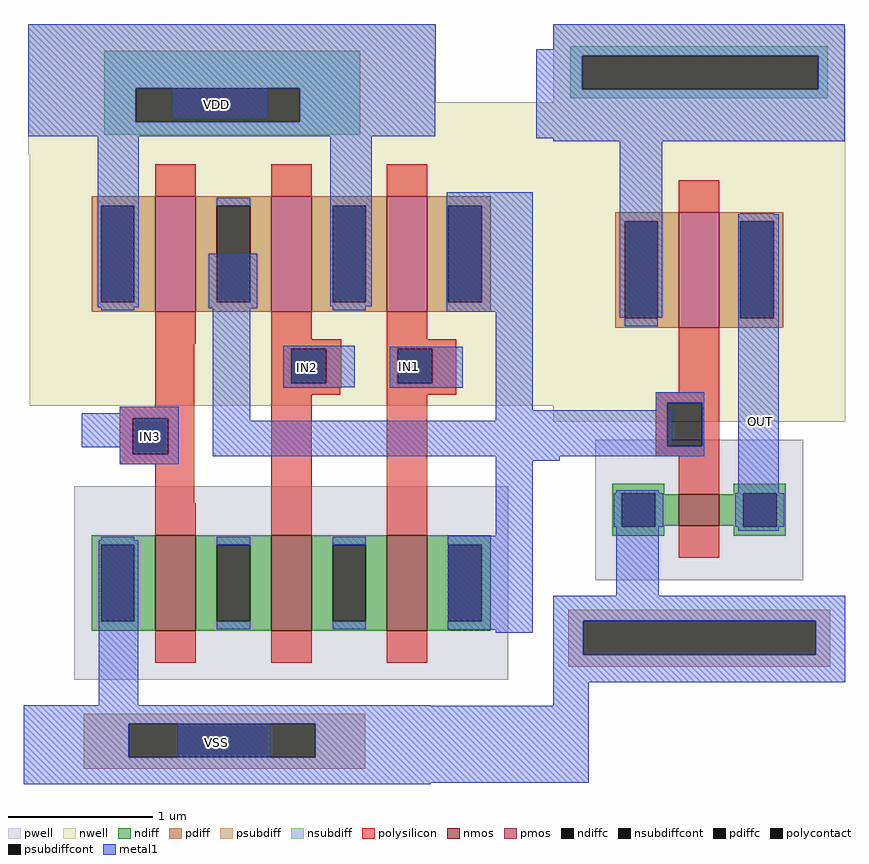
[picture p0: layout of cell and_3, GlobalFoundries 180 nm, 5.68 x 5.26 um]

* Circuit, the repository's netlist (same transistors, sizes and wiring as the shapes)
* NGSPICE file created from and_3.ext - technology: gf180mcuC

.subckt pmos_3p3_MQGBLR a_n28_n124# a_n116_n80# a_28_n80# w_n202_n210#
X0 a_28_n80# a_n28_n124# a_n116_n80# w_n202_n210# pfet_03v3 ad=0.352p pd=2.48u as=0.352p ps=2.48u w=0.8u l=0.28u
.ends

.subckt nmos_3p3_DDNVWA a_n120_n36# a_28_n22# a_n28_n66# VSUBS
X0 a_28_n22# a_n28_n66# a_n120_n36# VSUBS nfet_03v3 ad=0.152p pd=1.64u as=0.152p ps=1.64u w=0.22u l=0.28u
.ends

.subckt nverterlayout VDD VSS OUT IN
Xpmos_3p3_MQGBLR_0 IN VDD OUT VDD pmos_3p3_MQGBLR
Xnmos_3p3_DDNVWA_0 VSS OUT IN VSS nmos_3p3_DDNVWA
.ends

.subckt nmos_3p3_VGTVWA a_n116_n66# a_28_n66# a_n28_n110# VSUBS
X0 a_28_n66# a_n28_n110# a_n116_n66# VSUBS nfet_03v3 ad=0.29p pd=2.2u as=0.29p ps=2.2u w=0.66u l=0.28u
.ends

.subckt pmos_3p3_M8SWPS a_n28_n124# a_n116_n80# a_28_n80# w_n202_n210#
X0 a_28_n80# a_n28_n124# a_n116_n80# w_n202_n210# pfet_03v3 ad=0.352p pd=2.48u as=0.352p ps=2.48u w=0.8u l=0.28u
.ends

.subckt nand3_mag IN3 IN2 IN1 VDD VSS OUT
Xnmos_3p3_VGTVWA_0 nmos_3p3_VGTVWA_1/a_28_n66# nmos_3p3_VGTVWA_0/a_28_n66# IN2 VSS
+ nmos_3p3_VGTVWA
Xnmos_3p3_VGTVWA_1 VSS nmos_3p3_VGTVWA_1/a_28_n66# IN3 VSS nmos_3p3_VGTVWA
Xnmos_3p3_VGTVWA_2 nmos_3p3_VGTVWA_0/a_28_n66# OUT IN1 VSS nmos_3p3_VGTVWA
Xpmos_3p3_M8SWPS_0 IN1 VDD OUT VDD pmos_3p3_M8SWPS
Xpmos_3p3_M8SWPS_1 IN3 VDD OUT VDD pmos_3p3_M8SWPS
Xpmos_3p3_M8SWPS_2 IN2 OUT VDD VDD pmos_3p3_M8SWPS
.ends

.subckt and_3 IN1 IN2 IN3 VSS VDD OUT
Xnverterlayout_0 VDD VSS OUT nand3_mag_0/OUT nverterlayout
Xnand3_mag_0 IN3 IN2 IN1 VDD VSS nand3_mag_0/OUT nand3_mag
.ends

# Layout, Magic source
magic
tech gf180mcuC
magscale 1 10
<< metal1 >>
rect 206 921 337 965
rect 709 893 751 1016
rect 365 552 421 601
rect 514 552 570 601
rect 150 457 203 506
rect 675 453 897 517
rect 991 469 1040 536
rect 732 108 781 163
rect 212 34 341 85
rect 559 2 781 108
use nand3_mag  nand3_mag_0
transform 1 0 70 0 1 188
box -70 -188 671 863
use nverterlayout  nverterlayout_0
transform 1 0 820 0 1 -79
box -88 220 316 1130
<< labels >>
flabel metal1 393 576 393 576 0 FreeSans 480 0 0 0 IN2
port 1 nsew
flabel metal1 175 481 175 481 0 FreeSans 480 0 0 0 IN3
port 2 nsew
flabel metal1 266 57 266 57 0 FreeSans 480 0 0 0 VSS
port 3 nsew
flabel metal1 266 940 266 940 0 FreeSans 480 0 0 0 VDD
port 4 nsew
flabel metal1 1019 501 1019 501 0 FreeSans 480 0 0 0 OUT
port 5 nsew
flabel metal1 533 577 533 577 0 FreeSans 480 0 0 0 IN1
port 6 nsew
<< end >>

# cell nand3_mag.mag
magic
tech gf180mcuC
magscale 1 10
<< nwell >>
rect -64 682 500 863
rect 295 365 304 418
rect 345 366 354 417
rect 386 361 388 418
rect 485 417 528 421
rect 436 414 484 417
rect 485 414 529 417
rect 436 365 447 414
rect 485 364 528 414
<< psubdiff >>
rect 13 -105 402 -91
rect 13 -151 75 -105
rect 333 -151 402 -105
rect 13 -167 402 -151
<< nsubdiff >>
rect 41 774 395 826
rect 41 728 85 774
rect 312 728 395 774
rect 41 710 395 728
<< psubdiffcont >>
rect 75 -151 333 -105
<< nsubdiffcont >>
rect 85 728 312 774
<< polysilicon >>
rect 289 421 369 427
rect 112 334 166 421
rect 63 318 166 334
rect 63 268 81 318
rect 130 268 166 318
rect 63 254 166 268
rect 112 200 166 254
rect 272 414 369 421
rect 272 366 300 414
rect 348 366 369 414
rect 272 360 369 366
rect 432 414 528 427
rect 432 366 447 414
rect 495 366 528 414
rect 272 350 368 360
rect 432 350 528 366
rect 272 200 328 350
rect 432 200 488 350
<< polycontact >>
rect 81 268 130 318
rect 300 366 348 414
rect 447 366 495 414
<< metal1 >>
rect -64 817 500 863
rect -64 774 499 817
rect -64 728 85 774
rect 312 728 499 774
rect -64 708 499 728
rect 32 471 89 708
rect 186 470 253 545
rect 354 473 411 708
rect 63 325 144 334
rect 10 318 144 325
rect 10 278 81 318
rect 63 268 81 278
rect 130 268 144 318
rect 63 254 144 268
rect 191 314 243 470
rect 515 465 634 630
rect 289 414 388 418
rect 289 366 300 414
rect 348 366 388 414
rect 289 361 388 366
rect 436 414 537 417
rect 436 366 447 414
rect 495 366 537 414
rect 289 360 369 361
rect 436 360 537 366
rect 583 314 634 465
rect 191 265 671 314
rect 583 259 671 265
rect 583 155 634 259
rect 34 -79 88 149
rect 516 25 634 155
rect 583 21 634 25
rect -70 -105 493 -79
rect -70 -151 75 -105
rect 333 -151 493 -105
rect -70 -188 493 -151
use nmos_3p3_VGTVWA  nmos_3p3_VGTVWA_0
transform 1 0 300 0 1 90
box -140 -134 140 134
use nmos_3p3_VGTVWA  nmos_3p3_VGTVWA_1
transform 1 0 140 0 1 90
box -140 -134 140 134
use nmos_3p3_VGTVWA  nmos_3p3_VGTVWA_2
transform 1 0 460 0 1 90
box -140 -134 140 134
use pmos_3p3_M8SWPS  pmos_3p3_M8SWPS_0
transform 1 0 460 0 1 545
box -202 -210 202 210
use pmos_3p3_M8SWPS  pmos_3p3_M8SWPS_1
transform 1 0 140 0 1 545
box -202 -210 202 210
use pmos_3p3_M8SWPS  pmos_3p3_M8SWPS_2
transform 1 0 300 0 1 545
box -202 -210 202 210
<< labels >>
flabel metal1 30 300 30 300 0 FreeSans 320 0 0 0 IN3
port 0 nsew
flabel metal1 380 380 380 380 0 FreeSans 320 0 0 0 IN2
port 1 nsew
flabel metal1 530 390 530 390 0 FreeSans 320 0 0 0 IN1
port 2 nsew
flabel nsubdiffcont 200 750 200 750 0 FreeSans 320 0 0 0 VDD
port 3 nsew
flabel psubdiffcont 200 -130 200 -130 0 FreeSans 320 0 0 0 VSS
port 4 nsew
flabel metal1 620 290 620 290 0 FreeSans 320 0 0 0 OUT
port 5 nsew
<< end >>

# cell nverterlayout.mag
magic
tech gf180mcuC
magscale 1 10
<< nwell >>
rect -88 1124 315 1130
rect -88 1000 316 1124
rect -88 968 315 1000
rect 4 724 63 960
rect 64 612 121 621
<< pwell >>
rect 64 534 121 540
rect 54 532 121 534
<< psubdiff >>
rect -67 305 295 320
rect -67 258 -46 305
rect 275 258 295 305
rect -67 241 295 258
<< nsubdiff >>
rect -64 1086 292 1099
rect -64 1040 -48 1086
rect 279 1040 292 1086
rect -64 1027 292 1040
<< psubdiffcont >>
rect -46 258 275 305
<< nsubdiffcont >>
rect -48 1040 279 1086
<< polysilicon >>
rect 86 621 142 672
rect 54 606 142 621
rect 54 546 70 606
rect 118 546 142 606
rect 54 532 142 546
rect 86 524 142 532
<< polycontact >>
rect 70 546 118 606
<< metal1 >>
rect -88 1086 315 1130
rect -88 1040 -48 1086
rect 279 1040 315 1086
rect -88 968 315 1040
rect 4 724 63 968
rect 54 606 121 621
rect 54 596 70 606
rect 53 546 70 596
rect 118 546 121 606
rect 53 532 121 546
rect -1 339 58 485
rect 168 429 224 867
rect -88 305 316 339
rect -88 258 -46 305
rect 275 258 316 305
rect -88 220 316 258
use nmos_3p3_DDNVWA  nmos_3p3_DDNVWA_0 ~/GF180Projects/Top_test/top/magic
transform 1 0 114 0 1 458
box -144 -97 144 97
use pmos_3p3_MQGBLR  pmos_3p3_MQGBLR_0 ~/GF180Projects/Top_test/top/magic
transform 1 0 114 0 1 790
box -202 -210 202 210
<< labels >>
flabel nsubdiffcont 116 1065 116 1065 0 FreeSans 480 0 0 0 VDD
port 0 nsew
flabel psubdiffcont 113 283 113 283 0 FreeSans 480 0 0 0 VSS
port 1 nsew
flabel metal1 194 631 194 631 0 FreeSans 480 0 0 0 OUT
port 2 nsew
flabel polycontact 92 575 92 575 0 FreeSans 480 0 0 0 IN
port 3 nsew
<< end >>

# cell nmos_3p3_DDNVWA: kit device nmos_3p3, w 0.220 l 0.280 m 1 nf 1 diffcov 100 polycov 100 guard 0 glc 0 grc 0 gtc 0 gbc 0 tbcov 100 rlcov 100 topc 0 botc 0 poverlap 0 doverlap 1 lmin 0.28 wmin 0.22 full_metal 0 compatible {nmos_3p3 nmos_6p0 nmos_6p0_nat}

# cell pmos_3p3_MQGBLR: kit device pmos_3p3, w 0.8 l 0.280 m 1 nf 1 diffcov 100 polycov 100 guard 0 glc 0 grc 0 gtc 0 gbc 0 tbcov 100 rlcov 100 topc 0 botc 0 poverlap 0 doverlap 1 lmin 0.28 wmin 0.22 full_metal 0 compatible {pmos_3p3 pmos_6p0}

# cell nmos_3p3_VGTVWA: kit device nmos_3p3, w 0.660 l 0.280 m 1 nf 1 diffcov 100 polycov 100 guard 0 glc 0 grc 0 gtc 0 gbc 0 tbcov 100 rlcov 100 topc 0 botc 0 poverlap 0 doverlap 1 lmin 0.28 wmin 0.22 full_metal 0 compatible {nmos_3p3 nmos_6p0 nmos_6p0_nat}

# cell pmos_3p3_M8SWPS: kit device pmos_3p3, w 0.80 l 0.280 m 1 nf 1 diffcov 100 polycov 100 guard 0 glc 0 grc 0 gtc 0 gbc 0 tbcov 100 rlcov 100 topc 0 botc 0 poverlap 0 doverlap 1 lmin 0.28 wmin 0.22 full_metal 0 compatible {pmos_3p3 pmos_6p0}
